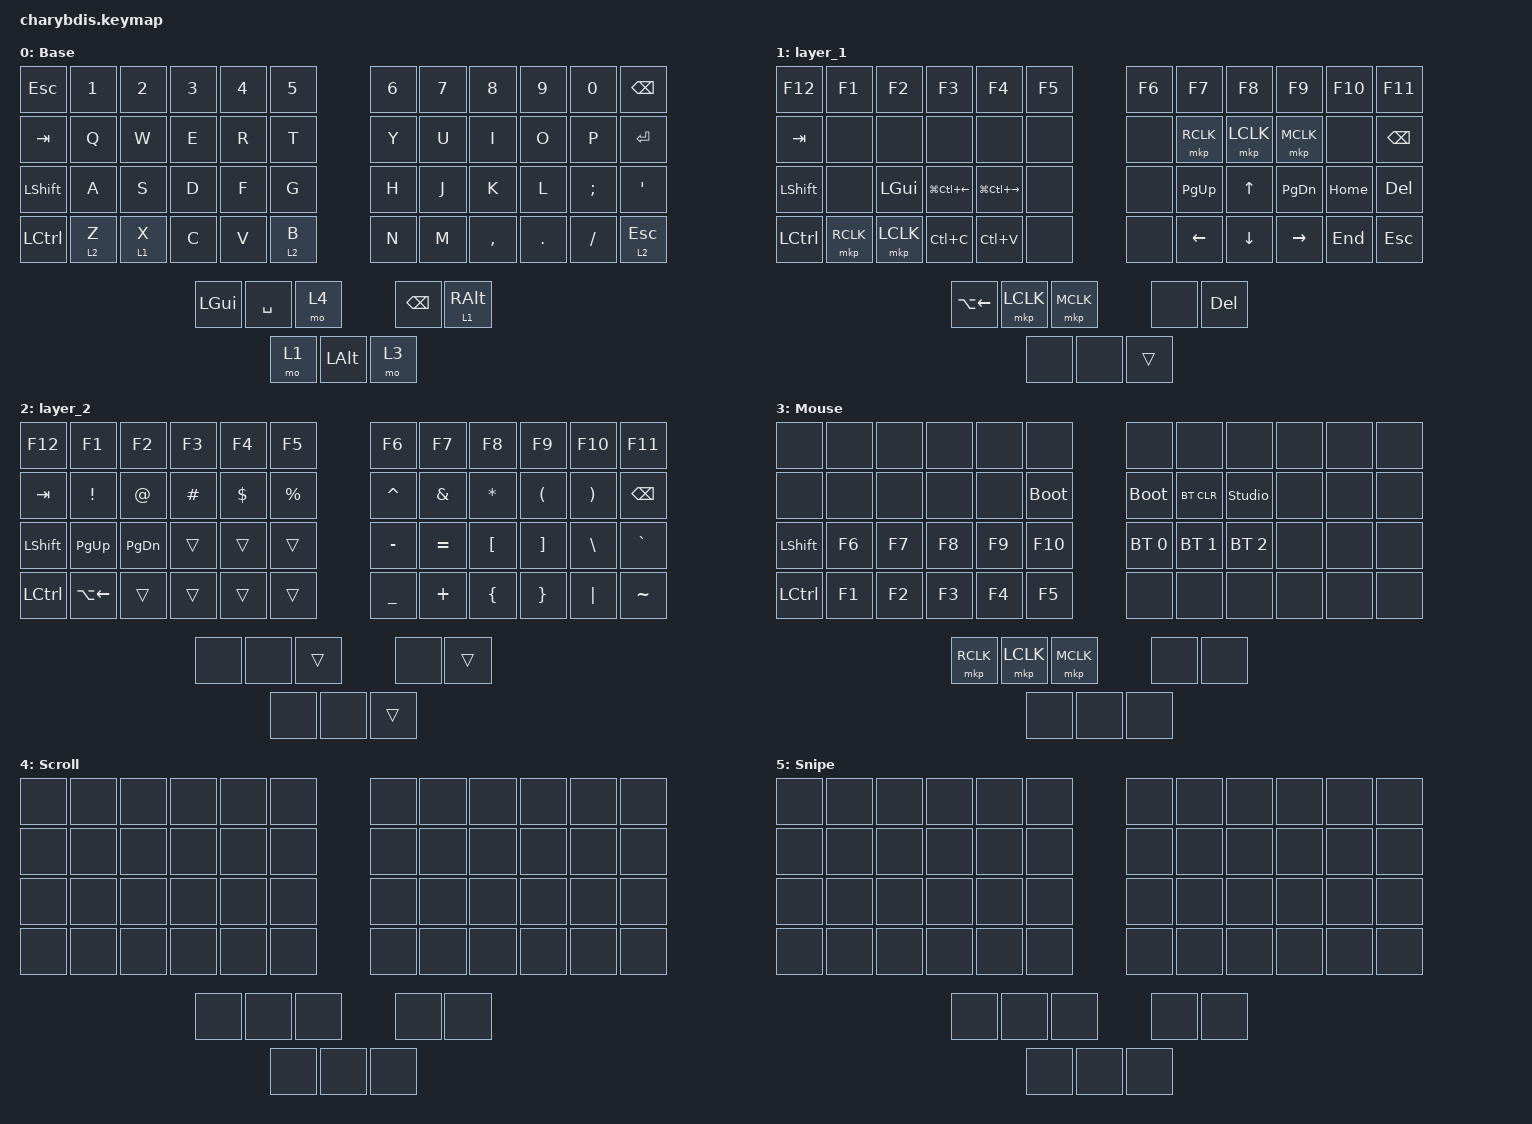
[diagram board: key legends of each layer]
#include <behaviors/mouse_keys.dtsi>
#include <behaviors.dtsi>
#include <dt-bindings/zmk/bt.h>
#include <dt-bindings/zmk/keys.h>
#include <dt-bindings/zmk/mouse.h>

&lt {
    tapping-term-ms = <240>;
    flavor = "tap-preferred";
    quick-tap-ms = <150>;
    require-prior-idle-ms = <10>;
};

&mt {
    tapping-term-ms = <250>;
    flavor = "tap-preferred";
    require-prior-idle-ms = <250>;
};

/ {
    combos {
        compatible = "zmk,combos";

        LeftClickRight {
            bindings = <&mkp LCLK>;
            key-positions = <31 32>;
        };

        RightClickRight {
            bindings = <&mkp RCLK>;
            key-positions = <32 33>;
        };

        scroll {
            bindings = <&mo 4>;
            key-positions = <31 32 33>;
        };

        studio_unlock_combo {
            bindings = <&studio_unlock>;
            key-positions = <30 31 32 33>;
            layers = <0 1 2 3 4 5>;
            timeout-ms = <100>;
        };
    };

    behaviors {
        Shift_Enter: Shift_Enter {
            compatible = "zmk,behavior-hold-tap";
            label = "SHIFT_ENTER";
            bindings = <&kp>, <&kp>;

            #binding-cells = <2>;
            hold-trigger-key-positions = <34>;
            tapping-term-ms = <100>;
        };
    };

    macros {
        quicker: quicker {
            compatible = "zmk,behavior-macro";
            #binding-cells = <0>;
            bindings = <&kp LEFT_CONTROL &kp LCTRL>, <&macro_press>;

            label = "QUICKER";
        };
    };

    keymap {
        compatible = "zmk,keymap";


        Base {
            bindings = <
&kp ESC     &kp N1   &kp N2  &kp N3    &kp N4       &kp N5    &kp N6     &kp N7          &kp N8         &kp N9         &kp N0   &kp BSPC
&kp TAB     &kp  Q   &kp W   &kp E     &kp R        &kp T     &kp Y      &kp U           &kp I          &kp O          &kp P    &kp RET
&kp LSHFT   &kp  A   &kp S   &kp D     &kp F        &kp G     &kp H      &kp J           &kp K          &kp L          &kp SEMI   &kp SQT
&kp LCTRL   &lt 2 Z  &lt 1 X   &kp C     &kp V      &lt 2 B   &kp N      &kp M           &kp COMMA      &kp DOT        &kp FSLH &lt 2 ESC
                           &kp LGUI  &kp SPACE      &mo 4     &kp BACKSPACE  &lt 1 RALT
                                     &mo 1   &kp LEFT_ALT     &mo 3
            >;
        };

        layer_1 {
            bindings = <
   &kp F12    &kp F1       &kp F2         &kp F3                &kp F4                &kp F5     &kp F6   &kp F7      &kp F8    &kp F9      &kp F10  &kp F11
   &kp TAB    &none        &none          &none                 &none                 &none       &none    &mkp RCLK  &mkp LCLK  &mkp MCLK  &none    &kp BSPC
   &kp LSHFT  &none        &kp LGUI       &kp LG(LC(LEFT))      &kp LG(LC(RIGHT))     &none       &none    &kp PG_UP  &kp UP     &kp PG_DN   &kp HOME &kp DEL
   &kp LCTRL  &mkp RCLK    &mkp LCLK      &kp LC(C)             &kp LC(V)             &none       &none    &kp LEFT   &kp DOWN   &kp RIGHT   &kp END  &kp ESC
                           &kp  LA(LEFT)  &mkp LCLK             &mkp MCLK             &none       &kp DEL
                                            &none               &none                 &trans
            >;
        };

        layer_2 {
            bindings = <
   &kp F12   &kp F1        &kp F2    &kp F3     &kp F4     &kp F5      &kp F6    &kp F7     &kp F8   &kp F9   &kp F10  &kp F11
   &kp  TAB  &kp EXCL      &kp AT    &kp HASH   &kp DLLR   &kp PRCNT   &kp CARET &kp AMPS  &kp ASTRK &kp LPAR &kp RPAR &kp BSPC
   &kp LSHFT &kp PG_UP     &kp PG_DN &trans     &trans     &trans      &kp MINUS &kp EQUAL &kp LBKT  &kp RBKT &kp BSLH &kp GRAVE
   &kp LCTRL &kp LA(LEFT)  &trans    &trans     &trans     &trans      &kp UNDER &kp PLUS  &kp LBRC  &kp RBRC &kp PIPE &kp TILDE
                                     &none      &none      &trans      &none     &trans
                                                &none       &none      &trans
            >;
        };

        Mouse {
            bindings = <
&none      &none        &none        &none        &none        &none          &none         &none         &none         &none  &none  &none
&none      &none        &none        &none        &none        &bootloader    &bootloader   &bt BT_CLR    &studio_unlock &none  &none  &none
&kp LSHFT  &kp F6       &kp F7       &kp F8       &kp F9       &kp F10        &bt BT_SEL 0  &bt BT_SEL 1  &bt BT_SEL 2  &none  &none  &none
&kp LCTRL  &kp F1       &kp F2       &kp F3       &kp F4       &kp F5         &none         &none         &none         &none  &none  &none
                     &mkp RCLK  &mkp LCLK  &mkp MCLK      &none         &none
                                &none      &none          &none
            >;
        };

        Scroll {
            bindings = <
&none  &none  &none  &none  &none  &none    &none  &none  &none  &none  &none  &none
&none  &none  &none  &none  &none  &none    &none  &none  &none  &none  &none  &none
&none  &none  &none  &none  &none  &none    &none  &none  &none  &none  &none  &none
&none  &none  &none  &none  &none  &none    &none  &none  &none  &none  &none  &none
                     &none  &none  &none    &none  &none
                            &none  &none    &none
            >;
        };

        Snipe {
            bindings = <
&none  &none  &none  &none  &none  &none    &none  &none  &none  &none  &none  &none
&none  &none  &none  &none  &none  &none    &none  &none  &none  &none  &none  &none
&none  &none  &none  &none  &none  &none    &none  &none  &none  &none  &none  &none
&none  &none  &none  &none  &none  &none    &none  &none  &none  &none  &none  &none
                     &none  &none  &none    &none  &none
                            &none  &none    &none
            >;
        };
    };
};
